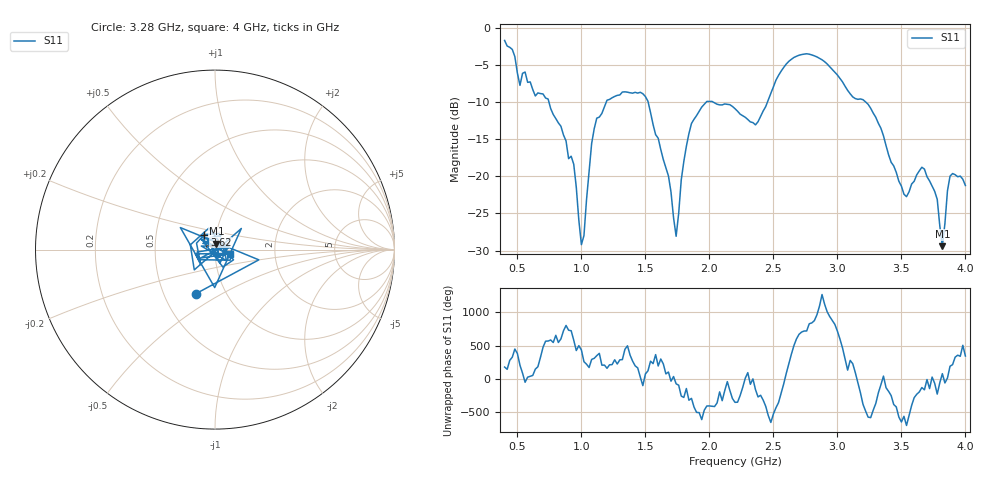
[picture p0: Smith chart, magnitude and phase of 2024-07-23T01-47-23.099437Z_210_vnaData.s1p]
!Created with skrf (http://scikit-rf.org).
# Hz S RI R 50.0
!freq ReS11 ImS11
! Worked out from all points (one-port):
!   181 points, 400 MHz to 4 GHz, reference 50 ohm
!   lowest |S11| = -29.4 dB at 3.82 GHz (marker M1), VSWR 1.07, Z = 50.7 + j3.33 ohm
!   |S11| at or under -10 dB: 747 MHz to 1.193 GHz (446.4 MHz wide, 46 % of centre); 1.522 GHz to 1.973 GHz (451.2 MHz wide, 25.8 % of centre); 3.224 GHz to end of sweep (the widest 3 of 4)
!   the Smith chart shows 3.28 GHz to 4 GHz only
!   S11 on the Smith chart (normalised r, x): 3.28 GHz: 0.72, -0.38; 3.62 GHz: 0.88, +0.15; 4 GHz: 1.18, -0.06
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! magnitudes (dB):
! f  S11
! 400 MHz  -1.6
! 520 MHz  -7.7
! 560 MHz  -5.9
! 860 MHz  -14.4
! 940 MHz  -18.3
! 1 GHz  -29.2
! 1.02 GHz  -28.0
! 1.08 GHz  -15.6
! 1.12 GHz  -12.1
! 1.3 GHz  -9.0
! 1.52 GHz  -9.8
! 1.68 GHz  -19.9
! 1.74 GHz  -28.1
! 1.76 GHz  -25.0
! 1.86 GHz  -12.8
! 1.98 GHz  -9.9
! 2.2 GHz  -10.9
! 2.36 GHz  -13.0
! 2.66 GHz  -3.9
! 2.88 GHz  -4.2
! 3.1 GHz  -8.8
! 3.28 GHz  -11.4
! 3.56 GHz  -22.1
! 3.62 GHz  -19.8
! 3.76 GHz  -22.0
! 3.82 GHz  -29.4
! 3.88 GHz  -20.0
! 4 GHz  -21.2
